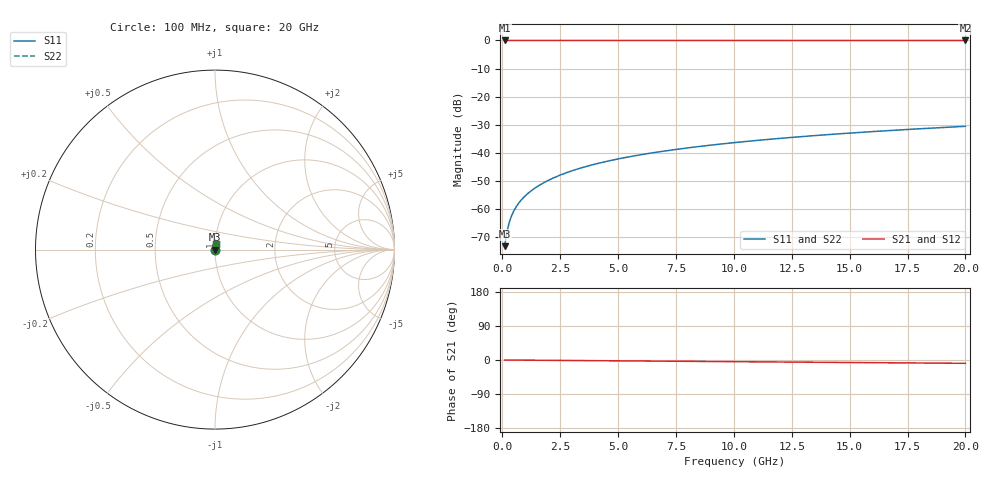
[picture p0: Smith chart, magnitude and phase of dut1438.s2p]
! Touchstone file exported from HFSS 2026.1.0
!  File:  C:/ffzhzh/LocalFiles/Ansys_Project_Files/temp_train_TSV_1438_1783197627_22436.aedt
!  Generated:  04:41:48 AM Jul  5, 2026
!  Design:  TSV
!  Project:  temp_train_TSV_1438_1783197627_22436
! Variables:
!  h_bsmrdl = 2um
!  h_ox = 20um
!  h_rdl = 5um
!  h_sub = 82.98um
!  h_tmrdl = 5um
!  h_tsv = 82.98um
!  h_via = 3um
!  l_bsmrdl = 300um
!  l_sub = 422.54um
!  l_tmrdl = 200um
!  m_sub = 200um
!  pitch = 56.71um
!  r_tsv = 11.27um
!  s_tmrdl = 10um
!  w_bsmrdl = 18um
!  w_sub = 500um
!  w_tmrdl = 12um
!  x_tsv_center1 = 206um
!  x_tsv_center2 = 524um
!  x_tsv_center3 = 736um
!  x_tsv_center4 = 1054um
!  x_tsv_center5 = 1266um
!  x_tsv_center6 = 1584um
# GHz S MA R 50.000000
! Terminal data exported
! Port[1] = TSV1_1_T1
! Port[2] = TSV1_1_T2
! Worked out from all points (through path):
!   200 points, 100 MHz to 20 GHz, reference 50 ohm
!   highest |S21| = 0.00 dB at 100 MHz (marker M1); lowest = 0.0 dB at 20 GHz (marker M2)
!   group delay of S21, straight-line fit = 1.22 ps
!   lowest |S11| = -73.2 dB at 100 MHz (marker M3), VSWR 1.00, Z = 50 + j0.019 ohm
!   |S11| at or under -10 dB: start of sweep to end of sweep
!   |S22| runs from -73.2 to -30.6 dB; largest |S21 - S12| = 5.6e-15
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0.1  0.0002178 60.6  0.9999 -0.0  0.9999 -0.0  0.0002178 60.6
! Gamma 0 0 0 0
! Port Impedance 50 0 50 0
0.2  0.0003952 72.5  0.9999 -0.1  0.9999 -0.1  0.0003952 72.5
0.3  0.0005758 76.3  0.9999 -0.1  0.9999 -0.1  0.0005758 76.3
0.4  0.000753 77.8  0.9998 -0.2  0.9998 -0.2  0.000753 77.8
0.5  0.0009252 78.6  0.9998 -0.2  0.9998 -0.2  0.0009252 78.6
0.6  0.001093 79.1  0.9998 -0.3  0.9998 -0.3  0.001093 79.1
0.7  0.001256 79.5  0.9998 -0.3  0.9998 -0.3  0.001256 79.5
0.9  0.001573 80.0  0.9997 -0.4  0.9997 -0.4  0.001573 80.0
1.1  0.001883 80.6  0.9997 -0.5  0.9997 -0.5  0.001883 80.6
1.3  0.002189 81.1  0.9997 -0.6  0.9997 -0.6  0.002189 81.1
1.6  0.002646 81.7  0.9996 -0.7  0.9996 -0.7  0.002646 81.7
1.9  0.003101 82.2  0.9996 -0.8  0.9996 -0.8  0.003101 82.2
2.6  0.004163 82.9  0.9996 -1.2  0.9996 -1.2  0.004163 82.9
3.5  0.005526 83.4  0.9995 -1.6  0.9995 -1.6  0.005526 83.4
4.2  0.00658 83.5  0.9994 -1.9  0.9994 -1.9  0.00658 83.5
5  0.007779 83.5  0.9994 -2.2  0.9994 -2.2  0.007779 83.5
6.8  0.01045 83.2  0.9993 -3.0  0.9993 -3.0  0.01045 83.2
8.3  0.01267 82.9  0.9992 -3.7  0.9992 -3.7  0.01267 82.9
10.1  0.01531 82.4  0.999 -4.4  0.999 -4.4  0.01531 82.4
13.4  0.02012 81.4  0.9988 -5.9  0.9988 -5.9  0.02012 81.4
16.7  0.02489 80.2  0.9986 -7.3  0.9986 -7.3  0.02489 80.2
20  0.02961 78.9  0.9984 -8.8  0.9984 -8.8  0.02961 78.9
